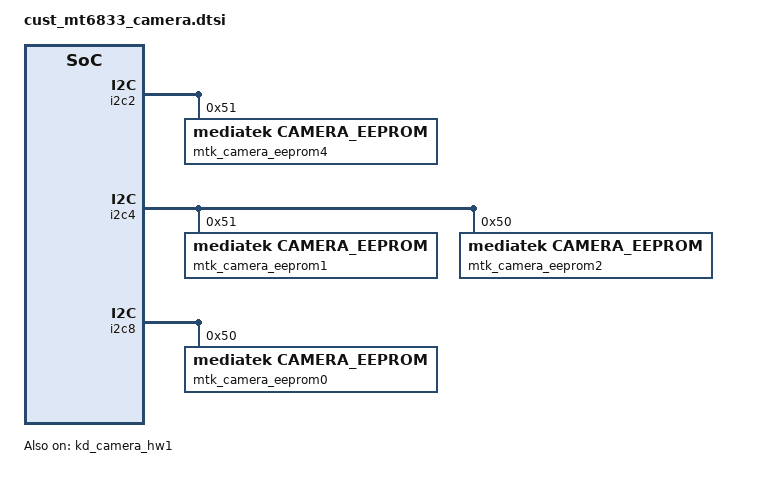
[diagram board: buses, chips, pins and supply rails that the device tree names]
/* SPDX-License-Identifier: GPL-2.0 */
/*
 * Copyright (c) 2019 MediaTek Inc.
*/
/* CAMERA GPIO standardization */
&pio {
	camera_pins_cam0_rst_0: cam0@0 {
		pins_cmd_dat {
			pinmux = <PINMUX_GPIO58__FUNC_GPIO58>;
			slew-rate = <1>;
			output-low;
		};
	};
	camera_pins_cam0_rst_1: cam0@1 {
		pins_cmd_dat {
			pinmux = <PINMUX_GPIO58__FUNC_GPIO58>;
			slew-rate = <1>;
			output-high;
		};
	};

	camera_pins_cam1_rst_0: cam1@0 {
		pins_cmd_dat {
			pinmux = <PINMUX_GPIO54__FUNC_GPIO54>;
			slew-rate = <1>;
			output-low;
		};
	};
	camera_pins_cam1_rst_1: cam1@1 {
		pins_cmd_dat {
			pinmux = <PINMUX_GPIO54__FUNC_GPIO54>;
			slew-rate = <1>;
			output-high;
		};
	};

	camera_pins_cam2_rst_0: cam2@0 {
		pins_cmd_dat {
			pinmux = <PINMUX_GPIO56__FUNC_GPIO56>;
			slew-rate = <1>;
			output-low;
		};
	};
	camera_pins_cam2_rst_1: cam2@1 {
		pins_cmd_dat {
			pinmux = <PINMUX_GPIO56__FUNC_GPIO56>;
			slew-rate = <1>;
			output-high;
		};
	};

	camera_pins_cam4_rst_0: cam4@0 {
		pins_cmd_dat {
			pinmux = <PINMUX_GPIO60__FUNC_GPIO60>;
			slew-rate = <1>;
			output-low;
		};
	};
	camera_pins_cam4_rst_1: cam4@1 {
		pins_cmd_dat {
			pinmux = <PINMUX_GPIO60__FUNC_GPIO60>;
			slew-rate = <1>;
			output-high;
		};
	};

	camera_pins_cam0_vcamd_0: cam0@vcam0 {
		pins_cmd_dat {
			pinmux = <PINMUX_GPIO82__FUNC_GPIO82>;
			slew-rate = <1>;
			output-low;
		};
	};
	camera_pins_cam0_vcamd_1: cam0@vcam1 {
		pins_cmd_dat {
			pinmux = <PINMUX_GPIO82__FUNC_GPIO82>;
			slew-rate = <1>;
			output-high;
		};
	};
	camera_pins_cam0_vcama_0: cam0@vcam2 {
		pins_cmd_dat {
			pinmux = <PINMUX_GPIO94__FUNC_GPIO94>;
			slew-rate = <1>;
			output-low;
		};
	};
	camera_pins_cam0_vcama_1: cam0@vcam3 {
		pins_cmd_dat {
			pinmux = <PINMUX_GPIO94__FUNC_GPIO94>;
			slew-rate = <1>;
			output-high;
		};
	};

	camera_pins_cam1_vcamd_0: cam1@vcam0 {
		pins_cmd_dat {
			pinmux = <PINMUX_GPIO6__FUNC_GPIO6>;
			slew-rate = <1>;
			output-low;
		};
	};
	camera_pins_cam1_vcamd_1: cam1@vcam1 {
		pins_cmd_dat {
			pinmux = <PINMUX_GPIO6__FUNC_GPIO6>;
			slew-rate = <1>;
			output-high;
		};
	};
	camera_pins_cam1_vcama_0: cam1@vcam2 {
		pins_cmd_dat {
			pinmux = <PINMUX_GPIO7__FUNC_GPIO7>;
			slew-rate = <1>;
			output-low;
		};
	};
	camera_pins_cam1_vcama_1: cam1@vcam3 {
		pins_cmd_dat {
			pinmux = <PINMUX_GPIO7__FUNC_GPIO7>;
			slew-rate = <1>;
			output-high;
		};
	};
	camera_pins_cam2_vcamd_0: cam2@vcam0 {
		pins_cmd_dat {
			pinmux = <PINMUX_GPIO6__FUNC_GPIO6>;
			slew-rate = <1>;
			output-low;
		};
	};
	camera_pins_cam2_vcamd_1: cam2@vcam1 {
		pins_cmd_dat {
			pinmux = <PINMUX_GPIO6__FUNC_GPIO6>;
			slew-rate = <1>;
			output-high;
		};
	};
	camera_pins_cam2_vcama_0: cam2@vcam2 {
		pins_cmd_dat {
			pinmux = <PINMUX_GPIO7__FUNC_GPIO7>;
			slew-rate = <1>;
			output-low;
		};
	};
	camera_pins_cam2_vcama_1: cam2@vcam3 {
		pins_cmd_dat {
			pinmux = <PINMUX_GPIO7__FUNC_GPIO7>;
			slew-rate = <1>;
			output-high;
		};
	};
	camera_pins_cam4_vcamd_0: cam4@vcam0 {
		pins_cmd_dat {
			pinmux = <PINMUX_GPIO93__FUNC_GPIO93>;
			slew-rate = <1>;
			output-low;
		};
	};
	camera_pins_cam4_vcamd_1: cam4@vcam1 {
		pins_cmd_dat {
			pinmux = <PINMUX_GPIO93__FUNC_GPIO93>;
			slew-rate = <1>;
			output-high;
		};
	};
	camera_pins_cam4_vcama_0: cam4@vcam2 {
		pins_cmd_dat {
			pinmux = <PINMUX_GPIO80__FUNC_GPIO80>;
			slew-rate = <1>;
			output-low;
		};
	};
	camera_pins_cam4_vcama_1: cam4@vcam3 {
		pins_cmd_dat {
			pinmux = <PINMUX_GPIO80__FUNC_GPIO80>;
			slew-rate = <1>;
			output-high;
		};
	};
	camera_pins_cam0_mclk_off: camera_pins_cam0_mclk_off {
		pins_cmd_dat {
			pinmux = <PINMUX_GPIO51__FUNC_GPIO51>;
			drive-strength = <1>;
		};
	};
	camera_pins_cam0_mclk_2ma: camera_pins_cam0_mclk_2ma {
		pins_cmd_dat {
			pinmux = <PINMUX_GPIO51__FUNC_CMMCLK2>;
			drive-strength = <0>;
		};
	};
	camera_pins_cam0_mclk_4ma: camera_pins_cam0_mclk_4ma {
		pins_cmd_dat {
			pinmux = <PINMUX_GPIO51__FUNC_CMMCLK2>;
			drive-strength = <1>;
		};
	};
	camera_pins_cam0_mclk_6ma: camera_pins_cam0_mclk_6ma {
		pins_cmd_dat {
			pinmux = <PINMUX_GPIO51__FUNC_CMMCLK2>;
			drive-strength = <2>;
		};
	};
	camera_pins_cam0_mclk_8ma: camera_pins_cam0_mclk_8ma {
		pins_cmd_dat {
			pinmux = <PINMUX_GPIO51__FUNC_CMMCLK2>;
			drive-strength = <3>;
		};
	};
	camera_pins_cam1_mclk_off: camera_pins_cam1_mclk_off {
		pins_cmd_dat {
			pinmux = <PINMUX_GPIO49__FUNC_GPIO49>;
			drive-strength = <1>;
		};
	};
	camera_pins_cam1_mclk_2ma: camera_pins_cam1_mclk_2ma {
		pins_cmd_dat {
			pinmux = <PINMUX_GPIO49__FUNC_CMMCLK0>;
			drive-strength = <0>;
		};
	};
	camera_pins_cam1_mclk_4ma: camera_pins_cam1_mclk_4ma {
		pins_cmd_dat {
			pinmux = <PINMUX_GPIO49__FUNC_CMMCLK0>;
			drive-strength = <1>;
		};
	};
	camera_pins_cam1_mclk_6ma: camera_pins_cam1_mclk_6ma {
		pins_cmd_dat {
			pinmux = <PINMUX_GPIO49__FUNC_CMMCLK0>;
			drive-strength = <2>;
		};
	};
	camera_pins_cam1_mclk_8ma: camera_pins_cam1_mclk_8ma {
		pins_cmd_dat {
			pinmux = <PINMUX_GPIO49__FUNC_CMMCLK0>;
			drive-strength = <3>;
		};
	};
	camera_pins_cam2_mclk_off: camera_pins_cam2_mclk_off {
		pins_cmd_dat {
			pinmux = <PINMUX_GPIO50__FUNC_GPIO50>;
			drive-strength = <1>;
		};
	};
	camera_pins_cam2_mclk_2ma: camera_pins_cam2_mclk_2ma {
		pins_cmd_dat {
			pinmux = <PINMUX_GPIO50__FUNC_CMMCLK1>;
			drive-strength = <0>;
		};
	};
	camera_pins_cam2_mclk_4ma: camera_pins_cam2_mclk_4ma {
		pins_cmd_dat {
			pinmux = <PINMUX_GPIO50__FUNC_CMMCLK1>;
			drive-strength = <1>;
		};
	};
	camera_pins_cam2_mclk_6ma: camera_pins_cam2_mclk_6ma {
		pins_cmd_dat {
			pinmux = <PINMUX_GPIO50__FUNC_CMMCLK1>;
			drive-strength = <2>;
		};
	};
	camera_pins_cam2_mclk_8ma: camera_pins_cam2_mclk_8ma {
		pins_cmd_dat {
			pinmux = <PINMUX_GPIO50__FUNC_CMMCLK1>;
			drive-strength = <3>;
		};
	};
	camera_pins_cam4_mclk_off: camera_pins_cam4_mclk_off {
		pins_cmd_dat {
			pinmux = <PINMUX_GPIO52__FUNC_GPIO52>;
			drive-strength = <1>;
		};
	};
	camera_pins_cam4_mclk_2ma: camera_pins_cam4_mclk_2ma {
		pins_cmd_dat {
			pinmux = <PINMUX_GPIO52__FUNC_CMMCLK3>;
			drive-strength = <0>;
		};
	};
	camera_pins_cam4_mclk_4ma: camera_pins_cam4_mclk_4ma {
		pins_cmd_dat {
			pinmux = <PINMUX_GPIO52__FUNC_CMMCLK3>;
			drive-strength = <1>;
		};
	};
	camera_pins_cam4_mclk_6ma: camera_pins_cam4_mclk_6ma {
		pins_cmd_dat {
			pinmux = <PINMUX_GPIO52__FUNC_CMMCLK3>;
			drive-strength = <2>;
		};
	};
	camera_pins_cam4_mclk_8ma: camera_pins_cam4_mclk_8ma {
		pins_cmd_dat {
			pinmux = <PINMUX_GPIO52__FUNC_CMMCLK3>;
			drive-strength = <3>;
		};
	};
	camera_pins_cam_mipi_switch_en_1: mipi_en@1 {
		pins_cmd_dat {
			pinmux = <PINMUX_GPIO131__FUNC_GPIO131>;
			slew-rate = <1>;
			output-high;
		};
	};
	camera_pins_cam_mipi_switch_en_0: mipi_en@0 {
		pins_cmd_dat {
			pinmux = <PINMUX_GPIO131__FUNC_GPIO131>;
			slew-rate = <1>;
			output-low;
		};
	};
	camera_pins_cam_mipi_switch_sel_1: mipi_sel@1 {
		pins_cmd_dat {
			pinmux = <PINMUX_GPIO132__FUNC_GPIO132>;
			slew-rate = <1>;
			output-high;
		};
	};
	camera_pins_cam_mipi_switch_sel_0: mipi_sel@0 {
		pins_cmd_dat {
			pinmux = <PINMUX_GPIO132__FUNC_GPIO132>;
			slew-rate = <1>;
			output-low;
		};
	};
	camera_pins_default: camdefault {
	};
};
&kd_camera_hw1 {
	pinctrl-names = "default",
			"cam0_rst0", "cam0_rst1",
			"cam1_rst0", "cam1_rst1",
			"cam2_rst0", "cam2_rst1",
			"cam4_rst0", "cam4_rst1",
			"cam0_ldo_vcamd_0", "cam0_ldo_vcamd_1",
			"cam0_ldo_vcama_0", "cam0_ldo_vcama_1",
			"cam1_ldo_vcamd_0", "cam1_ldo_vcamd_1",
			"cam1_ldo_vcama_0", "cam1_ldo_vcama_1",
			"cam2_ldo_vcamd_0", "cam2_ldo_vcamd_1",
			"cam2_ldo_vcama_0", "cam2_ldo_vcama_1",
			"cam4_ldo_vcamd_0", "cam4_ldo_vcamd_1",
			"cam4_ldo_vcama_0", "cam4_ldo_vcama_1",
			"cam0_mclk_off",
			"cam0_mclk_2mA", "cam0_mclk_4mA",
			"cam0_mclk_6mA", "cam0_mclk_8mA",
			"cam1_mclk_off",
			"cam1_mclk_2mA", "cam1_mclk_4mA",
			"cam1_mclk_6mA", "cam1_mclk_8mA",
			"cam2_mclk_off",
			"cam2_mclk_2mA", "cam2_mclk_4mA",
			"cam2_mclk_6mA", "cam2_mclk_8mA",
			"cam4_mclk_off",
			"cam4_mclk_2mA", "cam4_mclk_4mA",
			"cam4_mclk_6mA", "cam4_mclk_8mA",
			"cam_mipi_switch_en_1", "cam_mipi_switch_en_0",
			"cam_mipi_switch_sel_1", "cam_mipi_switch_sel_0";
	pinctrl-0 = <&camera_pins_default>;
	pinctrl-1 = <&camera_pins_cam0_rst_0>;
	pinctrl-2 = <&camera_pins_cam0_rst_1>;
	pinctrl-3 = <&camera_pins_cam1_rst_0>;
	pinctrl-4 = <&camera_pins_cam1_rst_1>;
	pinctrl-5 = <&camera_pins_cam2_rst_0>;
	pinctrl-6 = <&camera_pins_cam2_rst_1>;
	pinctrl-7 = <&camera_pins_cam4_rst_0>;
	pinctrl-8 = <&camera_pins_cam4_rst_1>;
	pinctrl-9 = <&camera_pins_cam0_vcamd_0>;
	pinctrl-10 = <&camera_pins_cam0_vcamd_1>;
	pinctrl-11 = <&camera_pins_cam0_vcama_0>;
	pinctrl-12 = <&camera_pins_cam0_vcama_1>;
	pinctrl-13 = <&camera_pins_cam1_vcamd_0>;
	pinctrl-14 = <&camera_pins_cam1_vcamd_1>;
	pinctrl-15 = <&camera_pins_cam1_vcama_0>;
	pinctrl-16 = <&camera_pins_cam1_vcama_1>;
	pinctrl-17 = <&camera_pins_cam2_vcamd_0>;
	pinctrl-18 = <&camera_pins_cam2_vcamd_1>;
	pinctrl-19 = <&camera_pins_cam2_vcama_0>;
	pinctrl-20 = <&camera_pins_cam2_vcama_1>;
	pinctrl-21 = <&camera_pins_cam4_vcamd_0>;
	pinctrl-22 = <&camera_pins_cam4_vcamd_1>;
	pinctrl-23 = <&camera_pins_cam4_vcama_0>;
	pinctrl-24 = <&camera_pins_cam4_vcama_1>;
	pinctrl-25 = <&camera_pins_cam0_mclk_off>;
	pinctrl-26 = <&camera_pins_cam0_mclk_2ma>;
	pinctrl-27 = <&camera_pins_cam0_mclk_4ma>;
	pinctrl-28 = <&camera_pins_cam0_mclk_6ma>;
	pinctrl-29 = <&camera_pins_cam0_mclk_8ma>;
	pinctrl-30 = <&camera_pins_cam1_mclk_off>;
	pinctrl-31 = <&camera_pins_cam1_mclk_2ma>;
	pinctrl-32 = <&camera_pins_cam1_mclk_4ma>;
	pinctrl-33 = <&camera_pins_cam1_mclk_6ma>;
	pinctrl-34 = <&camera_pins_cam1_mclk_8ma>;
	pinctrl-35 = <&camera_pins_cam2_mclk_off>;
	pinctrl-36 = <&camera_pins_cam2_mclk_2ma>;
	pinctrl-37 = <&camera_pins_cam2_mclk_4ma>;
	pinctrl-38 = <&camera_pins_cam2_mclk_6ma>;
	pinctrl-39 = <&camera_pins_cam2_mclk_8ma>;
	pinctrl-40 = <&camera_pins_cam4_mclk_off>;
	pinctrl-41 = <&camera_pins_cam4_mclk_2ma>;
	pinctrl-42 = <&camera_pins_cam4_mclk_4ma>;
	pinctrl-43 = <&camera_pins_cam4_mclk_6ma>;
	pinctrl-44 = <&camera_pins_cam4_mclk_8ma>;
	pinctrl-45 = <&camera_pins_cam_mipi_switch_en_1>;
	pinctrl-46 = <&camera_pins_cam_mipi_switch_en_0>;
	pinctrl-47 = <&camera_pins_cam_mipi_switch_sel_1>;
	pinctrl-48 = <&camera_pins_cam_mipi_switch_sel_0>;

	cam0_vcamio-supply = <&mt_pmic_vcamio_ldo_reg>;
	cam1_vcamio-supply = <&mt_pmic_vcamio_ldo_reg>;
	cam2_vcamio-supply = <&mt_pmic_vcamio_ldo_reg>;
	cam4_vcamio-supply = <&mt_pmic_vcamio_ldo_reg>;

	status = "okay";
};
/* CAMERA GPIO end */

/* CAMERA EEPROM */
&i2c2 {
	mtk_camera_eeprom4:camera_eeprom4@51 {
		compatible = "mediatek,camera_eeprom";
		reg = <0x51>;
		status = "okay";
	};
};
&i2c4 {
	mtk_camera_eeprom1:camera_eeprom1@51 {
		compatible = "mediatek,camera_eeprom";
		reg = <0x51>;
		status = "okay";
	};
	mtk_camera_eeprom2:camera_eeprom2@50 {
		compatible = "mediatek,camera_eeprom";
		reg = <0x50>;
		status = "okay";
	};
};
&i2c8 {
	mtk_camera_eeprom0:camera_eeprom0@50 {
		compatible = "mediatek,camera_eeprom";
		reg = <0x50>;
		status = "okay";
	};
};
/* CAMERA EEPROM end */
